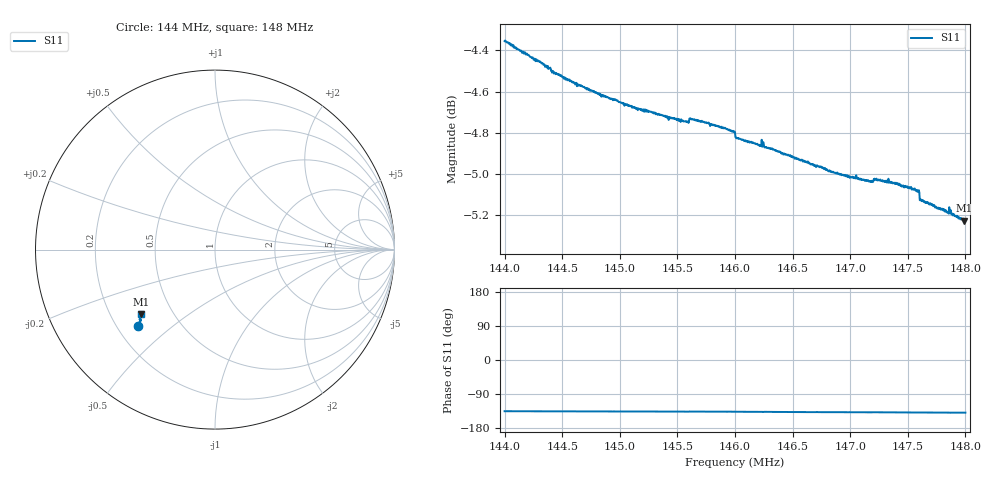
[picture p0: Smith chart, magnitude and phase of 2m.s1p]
! Calibrated averaged scanner-service zoom
# Hz S RI R 50
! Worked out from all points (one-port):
!   1001 points, 144 MHz to 148 MHz, reference 50 ohm
!   lowest |S11| = -5.2 dB at 147.99 MHz (marker M1), VSWR 3.42, Z = 16.4 - j16.9 ohm
!   |S11| at or under -10 dB: nowhere
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1.44e8  -0.4292 -0.4275
1.445e8  -0.4237 -0.416
1.45e8  -0.42 -0.4078
1.4518e8  -0.4194 -0.4052
1.45432e8  -0.4184 -0.4024
1.455e8  -0.4183 -0.4016
1.4558e8  -0.4182 -0.4004
1.45624e8  -0.4177 -0.4021
1.45688e8  -0.4169 -0.4019
1.45968e8  -0.4172 -0.3973
1.46e8  -0.4173 -0.3966
1.46024e8  -0.4166 -0.3944
1.46248e8  -0.4177 -0.3912
1.4638e8  -0.4169 -0.3877
1.46424e8  -0.4178 -0.3858
1.465e8  -0.4171 -0.3851
1.46688e8  -0.4168 -0.3811
1.47e8  -0.4162 -0.3768
1.4718e8  -0.4162 -0.3744
1.47232e8  -0.4163 -0.3752
1.475e8  -0.4175 -0.3701
1.4758e8  -0.4174 -0.3694
1.47624e8  -0.4155 -0.3662
1.47832e8  -0.4147 -0.3626
1.4786e8  -0.4175 -0.361
1.479e8  -0.4142 -0.3614
1.47992e8  -0.4139 -0.3588
1.48e8  -0.4136 -0.3596
